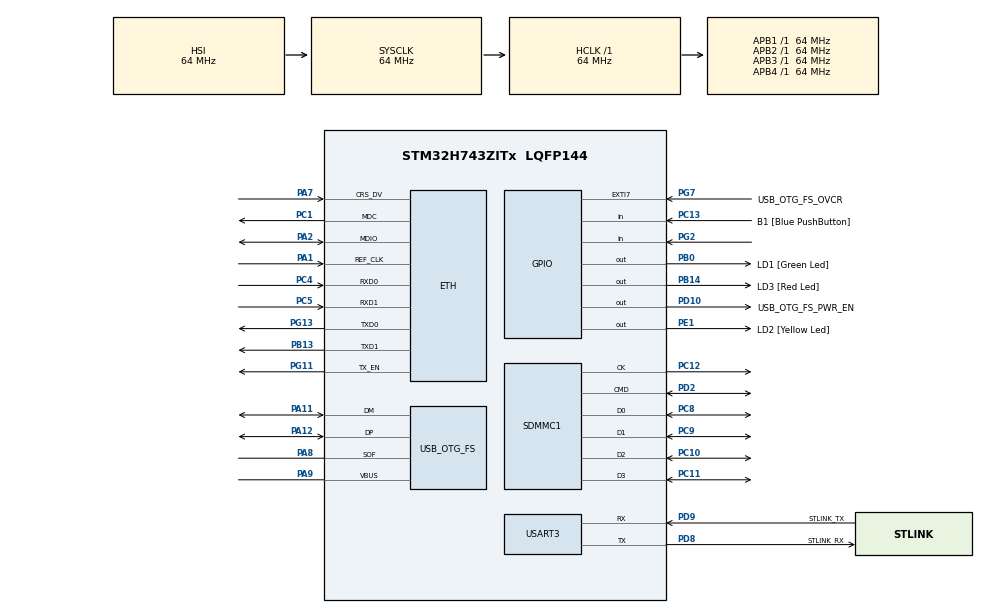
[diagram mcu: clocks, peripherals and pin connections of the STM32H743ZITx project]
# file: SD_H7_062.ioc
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ETH.MediaInterface=HAL_ETH_RMII_MODE
FATFS.BSP.number=1
FATFS0.BSP.STBoard=false
FATFS0.BSP.api=Unknown
FATFS0.BSP.i2caddr=0
FATFS0.BSP.instance=PG2
FATFS0.BSP.ip=GPIO
FATFS0.BSP.mode=Input
FATFS0.BSP.name=Detect_SDIO
FATFS0.BSP.solution=PG2
Mcu.Family=STM32H7
Mcu.Name=STM32H743ZITx
Mcu.Package=LQFP144
NVIC.PriorityGroup=NVIC_PRIORITYGROUP_4
NVIC.SDMMC1_IRQn=true\:0\:0\:false\:false\:true\:true\:true
PA1.Mode=RMII
PA1.Signal=ETH_REF_CLK
PA11.Mode=Device_Only
PA11.Signal=USB_OTG_FS_DM
PA12.Mode=Device_Only
PA12.Signal=USB_OTG_FS_DP
PA2.Mode=RMII
PA2.Signal=ETH_MDIO
PA7.Mode=RMII
PA7.Signal=ETH_CRS_DV
PA8.Mode=Activate_SOF_FS
PA8.Signal=USB_OTG_FS_SOF
PA9.Mode=Activate_VBUS
PA9.Signal=USB_OTG_FS_VBUS
PB0.GPIO_Label=LD1 [Green Led]
PB0.Signal=GPIO_Output
PB13.Mode=RMII
PB13.Signal=ETH_TXD1
PB14.GPIO_Label=LD3 [Red Led]
PB14.Signal=GPIO_Output
PC1.Mode=RMII
PC1.Signal=ETH_MDC
PC10.Mode=SD_4_bits_Wide_bus
PC10.Signal=SDMMC1_D2
PC11.Mode=SD_4_bits_Wide_bus
PC11.Signal=SDMMC1_D3
PC12.Mode=SD_4_bits_Wide_bus
PC12.Signal=SDMMC1_CK
PC13.GPIO_Label=B1 [Blue PushButton]
PC13.Signal=GPIO_Input
PC14-OSC32_IN\ (OSC32_IN).Mode=LSE-External-Oscillator
PC14-OSC32_IN\ (OSC32_IN).Signal=RCC_OSC32_IN
PC15-OSC32_OUT\ (OSC32_OUT).Mode=LSE-External-Oscillator
PC15-OSC32_OUT\ (OSC32_OUT).Signal=RCC_OSC32_OUT
PC4.Mode=RMII
PC4.Signal=ETH_RXD0
PC5.Mode=RMII
PC5.Signal=ETH_RXD1
PC8.Mode=SD_4_bits_Wide_bus
PC8.Signal=SDMMC1_D0
PC9.Mode=SD_4_bits_Wide_bus
PC9.Signal=SDMMC1_D1
PD10.GPIO_Label=USB_OTG_FS_PWR_EN
PD10.Signal=GPIO_Output
PD2.Mode=SD_4_bits_Wide_bus
PD2.Signal=SDMMC1_CMD
PD8.GPIO_Label=STLINK_RX
PD8.Mode=Asynchronous
PD8.Signal=USART3_TX
PD9.GPIO_Label=STLINK_TX
PD9.Mode=Asynchronous
PD9.Signal=USART3_RX
PE1.GPIO_Label=LD2 [Yellow Led]
PE1.Signal=GPIO_Output
PG11.Mode=RMII
PG11.Signal=ETH_TX_EN
PG13.Mode=RMII
PG13.Signal=ETH_TXD0
PG2.Signal=GPIO_Input
PG7.GPIO_Label=USB_OTG_FS_OVCR
PG7.Signal=GPXTI7
PH0-OSC_IN\ (PH0).Mode=HSE-External-Clock-Source
PH0-OSC_IN\ (PH0).Signal=RCC_OSC_IN
PH1-OSC_OUT\ (PH1).Signal=RCC_OSC_OUT
ProjectManager.HeapSize=0x200
ProjectManager.StackSize=0x400
ProjectManager.TargetToolchain=TrueSTUDIO
RCC.ADCFreq_Value=16125000
RCC.APB1Freq_Value=64000000
RCC.APB2Freq_Value=64000000
RCC.APB3Freq_Value=64000000
RCC.APB4Freq_Value=64000000
RCC.CortexFreq_Value=64000000
RCC.DIVM1=1
RCC.DIVN1=24
RCC.DIVQ1=4
RCC.HCLKFreq_Value=64000000
RCC.HSE_VALUE=8000000
RCC.PLLFRACN=0
RCC.SYSCLKFreq_VALUE=64000000
RCC.USBFreq_Value=48000000
USART3.VirtualMode-Asynchronous=VM_ASYNC
USB_OTG_FS.VirtualMode=Device_Only
VP_FATFS_VS_SDIO.Mode=SDIO
board=NUCLEO-H743ZI2

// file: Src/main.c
/* USER CODE BEGIN Header */
/**
  ******************************************************************************
  * @file           : main.c
  * @brief          : Main program body
  ******************************************************************************
  * @attention
  *
  * <h2><center>&copy; Copyright (c) 2020 STMicroelectronics.
  * All rights reserved.</center></h2>
  *
  * This software component is licensed by ST under Ultimate Liberty license
  * SLA0044, the "License"; You may not use this file except in compliance with
  * the License. You may obtain a copy of the License at:
  *                             www.st.com/SLA0044
  *
  ******************************************************************************
  */
/* USER CODE END Header */

#include "main.h"
#include "string.h"
#include "fatfs.h"

/* USER CODE BEGIN Includes */

#include "UartRingbuffer.h"
#include "file_handling.h"

/* USER CODE END Includes */

#if defined ( __ICCARM__ ) /*!< IAR Compiler */

#pragma location=0x30040000
ETH_DMADescTypeDef  DMARxDscrTab[ETH_RX_DESC_CNT]; /* Ethernet Rx DMA Descriptors */
#pragma location=0x30040060
ETH_DMADescTypeDef  DMATxDscrTab[ETH_TX_DESC_CNT]; /* Ethernet Tx DMA Descriptors */
#pragma location=0x30040200
uint8_t Rx_Buff[ETH_RX_DESC_CNT][ETH_MAX_PACKET_SIZE]; /* Ethernet Receive Buffers */

#elif defined ( __CC_ARM )  /* MDK ARM Compiler */

__attribute__((at(0x30040000))) ETH_DMADescTypeDef  DMARxDscrTab[ETH_RX_DESC_CNT]; /* Ethernet Rx DMA Descriptors */
__attribute__((at(0x30040060))) ETH_DMADescTypeDef  DMATxDscrTab[ETH_TX_DESC_CNT]; /* Ethernet Tx DMA Descriptors */
__attribute__((at(0x30040200))) uint8_t Rx_Buff[ETH_RX_DESC_CNT][ETH_MAX_PACKET_SIZE]; /* Ethernet Receive Buffer */

#elif defined ( __GNUC__ ) /* GNU Compiler */

ETH_DMADescTypeDef DMARxDscrTab[ETH_RX_DESC_CNT] __attribute__((section(".RxDecripSection"))); /* Ethernet Rx DMA Descriptors */
ETH_DMADescTypeDef DMATxDscrTab[ETH_TX_DESC_CNT] __attribute__((section(".TxDecripSection")));   /* Ethernet Tx DMA Descriptors */
uint8_t Rx_Buff[ETH_RX_DESC_CNT][ETH_MAX_PACKET_SIZE] __attribute__((section(".RxArraySection"))); /* Ethernet Receive Buffers */

#endif

ETH_TxPacketConfig TxConfig;

ETH_HandleTypeDef heth;

SD_HandleTypeDef hsd1;

UART_HandleTypeDef huart3;

PCD_HandleTypeDef hpcd_USB_OTG_FS;

void SystemClock_Config(void);
static void MX_GPIO_Init(void);
static void MX_ETH_Init(void);
static void MX_SDMMC1_SD_Init(void);
static void MX_USART3_UART_Init(void);
static void MX_USB_OTG_FS_PCD_Init(void);

/* USER CODE BEGIN 0 */

void send_uart (char *string)
{
	uint8_t len = strlen ((const char *) string);
	HAL_UART_Transmit(&huart3, (uint8_t *) string, len, 2000);
}

FRESULT res;
FATFS SDFatFs;
FIL FileSDCard;

char line[100];

uint8_t file_open(void) {
	  res = BSP_SD_Init();
	  if(res != FR_OK) {
		  send_uart("SD card initialization error.\n");
		  return 1;
	  }
	  else {
		  send_uart("SD card initialized.\n");
	  }

	  res = f_mount(&SDFatFs, "", 1);
	  if(res != FR_OK) {
		  send_uart("FatFS mount error.\n");
	  	  return 2;
	  }
	  else {
		  send_uart("FatFS mounted.\n");
	  }

	  res = f_open(&FileSDCard, "message.txt", FA_READ);
	  if(res != FR_OK) {
		  send_uart("No message.txt file.\n");
		  return 3;
	  }
	  else {
		  send_uart("File opened.\n");
		  while (f_gets(line, sizeof line, &FileSDCard)) {
			  send_uart(line);
		  }
	  }
	  return 0;
}

/* USER CODE END 0 */

int main(void)
{

  /* MCU Configuration--------------------------------------------------------*/

  /* Reset of all peripherals, Initializes the Flash interface and the Systick. */
  HAL_Init();

  /* Configure the system clock */
  SystemClock_Config();

  /* Initialize all configured peripherals */
  MX_GPIO_Init();
  MX_ETH_Init();
  MX_SDMMC1_SD_Init();
  MX_USART3_UART_Init();
  MX_USB_OTG_FS_PCD_Init();
  MX_FATFS_Init();
  /* USER CODE BEGIN 2 */

  file_open();

  /* USER CODE END 2 */

  /* Infinite loop */
  /* USER CODE BEGIN WHILE */
  int ld_cnt = 0;
  while (1)
  {
	  if(ld_cnt % 2 == 0){
		  HAL_GPIO_TogglePin(LD1_GPIO_Port, LD1_Pin);
	  }
	  if(ld_cnt % 3 == 0){
		  HAL_GPIO_TogglePin(LD2_GPIO_Port, LD2_Pin);
	  }

	  if(ld_cnt % 5 == 0){
		  HAL_GPIO_TogglePin(LD3_GPIO_Port, LD3_Pin);
	  }
	  ld_cnt++;

	  HAL_Delay(40);
    /* USER CODE END WHILE */

  }
}

void SystemClock_Config(void)
{
  RCC_OscInitTypeDef RCC_OscInitStruct = {0};
  RCC_ClkInitTypeDef RCC_ClkInitStruct = {0};
  RCC_PeriphCLKInitTypeDef PeriphClkInitStruct = {0};

  /** Supply configuration update enable
  */
  HAL_PWREx_ConfigSupply(PWR_LDO_SUPPLY);
  /** Configure the main internal regulator output voltage
  */
  __HAL_PWR_VOLTAGESCALING_CONFIG(PWR_REGULATOR_VOLTAGE_SCALE3);

  while(!__HAL_PWR_GET_FLAG(PWR_FLAG_VOSRDY)) {}
  /** Initializes the CPU, AHB and APB busses clocks
  */
  RCC_OscInitStruct.OscillatorType = RCC_OSCILLATORTYPE_HSI|RCC_OSCILLATORTYPE_HSE;
  RCC_OscInitStruct.HSEState = RCC_HSE_BYPASS;
  RCC_OscInitStruct.HSIState = RCC_HSI_DIV1;
  RCC_OscInitStruct.HSICalibrationValue = RCC_HSICALIBRATION_DEFAULT;
  RCC_OscInitStruct.PLL.PLLState = RCC_PLL_ON;
  RCC_OscInitStruct.PLL.PLLSource = RCC_PLLSOURCE_HSE;
  RCC_OscInitStruct.PLL.PLLM = 1;
  RCC_OscInitStruct.PLL.PLLN = 24;
  RCC_OscInitStruct.PLL.PLLP = 2;
  RCC_OscInitStruct.PLL.PLLQ = 4;
  RCC_OscInitStruct.PLL.PLLR = 2;
  RCC_OscInitStruct.PLL.PLLRGE = RCC_PLL1VCIRANGE_3;
  RCC_OscInitStruct.PLL.PLLVCOSEL = RCC_PLL1VCOWIDE;
  RCC_OscInitStruct.PLL.PLLFRACN = 0;
  if (HAL_RCC_OscConfig(&RCC_OscInitStruct) != HAL_OK)
  {
    Error_Handler();
  }
  /** Initializes the CPU, AHB and APB busses clocks
  */
  RCC_ClkInitStruct.ClockType = RCC_CLOCKTYPE_HCLK|RCC_CLOCKTYPE_SYSCLK
                              |RCC_CLOCKTYPE_PCLK1|RCC_CLOCKTYPE_PCLK2
                              |RCC_CLOCKTYPE_D3PCLK1|RCC_CLOCKTYPE_D1PCLK1;
  RCC_ClkInitStruct.SYSCLKSource = RCC_SYSCLKSOURCE_HSI;
  RCC_ClkInitStruct.SYSCLKDivider = RCC_SYSCLK_DIV1;
  RCC_ClkInitStruct.AHBCLKDivider = RCC_HCLK_DIV1;
  RCC_ClkInitStruct.APB3CLKDivider = RCC_APB3_DIV1;
  RCC_ClkInitStruct.APB1CLKDivider = RCC_APB1_DIV1;
  RCC_ClkInitStruct.APB2CLKDivider = RCC_APB2_DIV1;
  RCC_ClkInitStruct.APB4CLKDivider = RCC_APB4_DIV1;

  if (HAL_RCC_ClockConfig(&RCC_ClkInitStruct, FLASH_LATENCY_0) != HAL_OK)
  {
    Error_Handler();
  }
  PeriphClkInitStruct.PeriphClockSelection = RCC_PERIPHCLK_USART3|RCC_PERIPHCLK_SDMMC
                              |RCC_PERIPHCLK_USB;
  PeriphClkInitStruct.SdmmcClockSelection = RCC_SDMMCCLKSOURCE_PLL;
  PeriphClkInitStruct.Usart234578ClockSelection = RCC_USART234578CLKSOURCE_D2PCLK1;
  PeriphClkInitStruct.UsbClockSelection = RCC_USBCLKSOURCE_PLL;
  if (HAL_RCCEx_PeriphCLKConfig(&PeriphClkInitStruct) != HAL_OK)
  {
    Error_Handler();
  }
  /** Enable USB Voltage detector
  */
  HAL_PWREx_EnableUSBVoltageDetector();
}

static void MX_ETH_Init(void)
{

  heth.Instance = ETH;
  heth.Init.MACAddr[0] =   0x00;
  heth.Init.MACAddr[1] =   0x80;
  heth.Init.MACAddr[2] =   0xE1;
  heth.Init.MACAddr[3] =   0x00;
  heth.Init.MACAddr[4] =   0x00;
  heth.Init.MACAddr[5] =   0x00;
  heth.Init.MediaInterface = HAL_ETH_RMII_MODE;
  heth.Init.TxDesc = DMATxDscrTab;
  heth.Init.RxDesc = DMARxDscrTab;
  heth.Init.RxBuffLen = 1524;

  if (HAL_ETH_Init(&heth) != HAL_OK)
  {
    Error_Handler();
  }

  memset(&TxConfig, 0 , sizeof(ETH_TxPacketConfig));
  TxConfig.Attributes = ETH_TX_PACKETS_FEATURES_CSUM | ETH_TX_PACKETS_FEATURES_CRCPAD;
  TxConfig.ChecksumCtrl = ETH_CHECKSUM_IPHDR_PAYLOAD_INSERT_PHDR_CALC;
  TxConfig.CRCPadCtrl = ETH_CRC_PAD_INSERT;

}

static void MX_SDMMC1_SD_Init(void)
{

  hsd1.Instance = SDMMC1;
  hsd1.Init.ClockEdge = SDMMC_CLOCK_EDGE_RISING;
  hsd1.Init.ClockPowerSave = SDMMC_CLOCK_POWER_SAVE_DISABLE;
  hsd1.Init.BusWide = SDMMC_BUS_WIDE_4B;
  hsd1.Init.HardwareFlowControl = SDMMC_HARDWARE_FLOW_CONTROL_DISABLE;
  hsd1.Init.ClockDiv = 0;
  hsd1.Init.TranceiverPresent = SDMMC_TRANSCEIVER_NOT_PRESENT;

}

static void MX_USART3_UART_Init(void)
{

  huart3.Instance = USART3;
  huart3.Init.BaudRate = 115200;
  huart3.Init.WordLength = UART_WORDLENGTH_8B;
  huart3.Init.StopBits = UART_STOPBITS_1;
  huart3.Init.Parity = UART_PARITY_NONE;
  huart3.Init.Mode = UART_MODE_TX_RX;
  huart3.Init.HwFlowCtl = UART_HWCONTROL_NONE;
  huart3.Init.OverSampling = UART_OVERSAMPLING_16;
  huart3.Init.OneBitSampling = UART_ONE_BIT_SAMPLE_DISABLE;
  huart3.Init.ClockPrescaler = UART_PRESCALER_DIV1;
  huart3.AdvancedInit.AdvFeatureInit = UART_ADVFEATURE_NO_INIT;
  if (HAL_UART_Init(&huart3) != HAL_OK)
  {
    Error_Handler();
  }
  if (HAL_UARTEx_SetTxFifoThreshold(&huart3, UART_TXFIFO_THRESHOLD_1_8) != HAL_OK)
  {
    Error_Handler();
  }
  if (HAL_UARTEx_SetRxFifoThreshold(&huart3, UART_RXFIFO_THRESHOLD_1_8) != HAL_OK)
  {
    Error_Handler();
  }
  if (HAL_UARTEx_DisableFifoMode(&huart3) != HAL_OK)
  {
    Error_Handler();
  }

}

static void MX_USB_OTG_FS_PCD_Init(void)
{

  hpcd_USB_OTG_FS.Instance = USB_OTG_FS;
  hpcd_USB_OTG_FS.Init.dev_endpoints = 9;
  hpcd_USB_OTG_FS.Init.speed = PCD_SPEED_FULL;
  hpcd_USB_OTG_FS.Init.dma_enable = DISABLE;
  hpcd_USB_OTG_FS.Init.phy_itface = PCD_PHY_EMBEDDED;
  hpcd_USB_OTG_FS.Init.Sof_enable = ENABLE;
  hpcd_USB_OTG_FS.Init.low_power_enable = DISABLE;
  hpcd_USB_OTG_FS.Init.lpm_enable = DISABLE;
  hpcd_USB_OTG_FS.Init.battery_charging_enable = ENABLE;
  hpcd_USB_OTG_FS.Init.vbus_sensing_enable = ENABLE;
  hpcd_USB_OTG_FS.Init.use_dedicated_ep1 = DISABLE;
  if (HAL_PCD_Init(&hpcd_USB_OTG_FS) != HAL_OK)
  {
    Error_Handler();
  }

}

static void MX_GPIO_Init(void)
{
  GPIO_InitTypeDef GPIO_InitStruct = {0};

  /* GPIO Ports Clock Enable */
  __HAL_RCC_GPIOC_CLK_ENABLE();
  __HAL_RCC_GPIOH_CLK_ENABLE();
  __HAL_RCC_GPIOA_CLK_ENABLE();
  __HAL_RCC_GPIOB_CLK_ENABLE();
  __HAL_RCC_GPIOD_CLK_ENABLE();
  __HAL_RCC_GPIOG_CLK_ENABLE();
  __HAL_RCC_GPIOE_CLK_ENABLE();

  /*Configure GPIO pin Output Level */
  HAL_GPIO_WritePin(GPIOB, LD1_Pin|LD3_Pin, GPIO_PIN_RESET);

  /*Configure GPIO pin Output Level */
  HAL_GPIO_WritePin(USB_OTG_FS_PWR_EN_GPIO_Port, USB_OTG_FS_PWR_EN_Pin, GPIO_PIN_RESET);

  /*Configure GPIO pin Output Level */
  HAL_GPIO_WritePin(LD2_GPIO_Port, LD2_Pin, GPIO_PIN_RESET);

  /*Configure GPIO pin : B1_Pin */
  GPIO_InitStruct.Pin = B1_Pin;
  GPIO_InitStruct.Mode = GPIO_MODE_INPUT;
  GPIO_InitStruct.Pull = GPIO_NOPULL;
  HAL_GPIO_Init(B1_GPIO_Port, &GPIO_InitStruct);

  /*Configure GPIO pins : LD1_Pin LD3_Pin */
  GPIO_InitStruct.Pin = LD1_Pin|LD3_Pin;
  GPIO_InitStruct.Mode = GPIO_MODE_OUTPUT_PP;
  GPIO_InitStruct.Pull = GPIO_NOPULL;
  GPIO_InitStruct.Speed = GPIO_SPEED_FREQ_LOW;
  HAL_GPIO_Init(GPIOB, &GPIO_InitStruct);

  /*Configure GPIO pin : USB_OTG_FS_PWR_EN_Pin */
  GPIO_InitStruct.Pin = USB_OTG_FS_PWR_EN_Pin;
  GPIO_InitStruct.Mode = GPIO_MODE_OUTPUT_PP;
  GPIO_InitStruct.Pull = GPIO_NOPULL;
  GPIO_InitStruct.Speed = GPIO_SPEED_FREQ_LOW;
  HAL_GPIO_Init(USB_OTG_FS_PWR_EN_GPIO_Port, &GPIO_InitStruct);

  /*Configure GPIO pin : PG2 */
  GPIO_InitStruct.Pin = GPIO_PIN_2;
  GPIO_InitStruct.Mode = GPIO_MODE_INPUT;
  GPIO_InitStruct.Pull = GPIO_NOPULL;
  HAL_GPIO_Init(GPIOG, &GPIO_InitStruct);

  /*Configure GPIO pin : USB_OTG_FS_OVCR_Pin */
  GPIO_InitStruct.Pin = USB_OTG_FS_OVCR_Pin;
  GPIO_InitStruct.Mode = GPIO_MODE_IT_RISING;
  GPIO_InitStruct.Pull = GPIO_NOPULL;
  HAL_GPIO_Init(USB_OTG_FS_OVCR_GPIO_Port, &GPIO_InitStruct);

  /*Configure GPIO pin : LD2_Pin */
  GPIO_InitStruct.Pin = LD2_Pin;
  GPIO_InitStruct.Mode = GPIO_MODE_OUTPUT_PP;
  GPIO_InitStruct.Pull = GPIO_NOPULL;
  GPIO_InitStruct.Speed = GPIO_SPEED_FREQ_LOW;
  HAL_GPIO_Init(LD2_GPIO_Port, &GPIO_InitStruct);

}

void Error_Handler(void)
{
}

/************************ (C) COPYRIGHT STMicroelectronics *****END OF FILE****/
